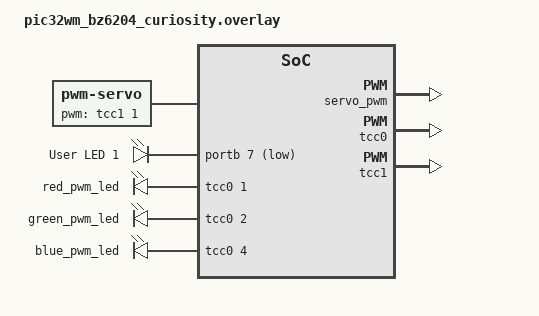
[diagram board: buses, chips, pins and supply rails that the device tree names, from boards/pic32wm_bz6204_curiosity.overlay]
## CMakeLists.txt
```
#
# Copyright (c) 2025 Microchip Technology Inc.
#
# SPDX-License-Identifier: Apache-2.0

cmake_minimum_required(VERSION 3.20.0)
find_package(Zephyr REQUIRED HINTS $ENV{ZEPHYR_BASE})
project(ble_servo_360)

target_sources(app PRIVATE
  src/main.c
  src/app_servo_motor_360.c
  )
```

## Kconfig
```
# Copyright (c) 2025 Microchip Technology Inc.
# SPDX-License-Identifier: Apache-2.0

mainmenu "Bluetooth: Peripheral TRP UART"

# Servo motor type fixed for this project
config APP_SERVO_MOTOR_180
  bool
  default n

config APP_SERVO_MOTOR_360
  bool
  default y

source "Kconfig.zephyr"
```

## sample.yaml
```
sample:
  name: Bluetooth LE 360-degree Servo Motor Control
  description: Control a continuous-rotation servo over Bluetooth LE on the PIC32-BZ6 Curiosity board.
  tags: bluetooth
tests:
  build:
    platform_allow:
      - pic32wm_bz6204_curiosity/pic32cx2051bz62132
    tags: bluetooth
```

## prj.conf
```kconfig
#
# Copyright (c) 2025 Microchip Technology Inc.
#
# SPDX-License-Identifier: Apache-2.0
#
CONFIG_BT=y
CONFIG_LOG=y
CONFIG_BT_SMP=y
CONFIG_BT_PERIPHERAL=y
CONFIG_BT_TRS=y
CONFIG_BT_TRS_SERVER=y
CONFIG_BT_GATT_DYNAMIC_DB=y
CONFIG_BT_DEVICE_NAME="Microchip"

CONFIG_GPIO=y
CONFIG_PWM=y

CONFIG_NET_BUF=y

CONFIG_BT_MAX_CONN=1

CONFIG_BT_RX_STACK_SIZE=2048
CONFIG_SYSTEM_WORKQUEUE_STACK_SIZE=2048

CONFIG_BT_L2CAP_TX_MTU=247
CONFIG_BT_BUF_ACL_RX_SIZE=255
CONFIG_BT_BUF_ACL_TX_SIZE=251
CONFIG_BT_BUF_CMD_TX_SIZE=255
CONFIG_BT_L2CAP_TX_BUF_COUNT=10
CONFIG_BT_CONN_TX_MAX=10
CONFIG_BT_ATT_TX_COUNT=10

CONFIG_TRS_SERVER_CREDIT=16
CONFIG_TRS_SERVER_BUF_POOL_SIZE=16
CONFIG_TRS_SERVER_BUF_DATA_SIZE=244
```

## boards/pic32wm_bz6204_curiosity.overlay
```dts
/*
 * PWM LED Configuration for pic32wm_bz6204_curiosity
 * 
 * This overlay file configures the RGB LEDs as PWM-controlled LEDs
 * All LEDs use TCC0 (Timer Counter Channel 0)
 * Red LED:   TCC0_WO1
 * Green LED: TCC0_WO2
 * Blue LED:  TCC0_WO4
 */

/ {
	servo: servo {
        compatible = "pwm-servo";
        pwms = <&tcc1 1 20000000 0>;
        min-pulse = <500000>;
        max-pulse = <2500000>;
    		};

	leds {
		compatible = "gpio-leds";
		led3: led_3 {
			gpios = <&portb 7 GPIO_ACTIVE_LOW>;
			label = "User LED 1";
		};
	};

	pwmleds {
		compatible = "pwm-leds";
		status = "okay";
		red_pwm_led: red_pwm_led {
			status = "okay";
			pwms = <&tcc0 1 PWM_MSEC(20) 0>;
		};

		green_pwm_led: green_pwm_led {
			status = "okay";
			pwms = <&tcc0 2 PWM_MSEC(20) 0>;
		};

		blue_pwm_led: blue_pwm_led {
			status = "okay";
			pwms = <&tcc0 4 PWM_MSEC(20) 0>;
		};

		servo_pwm: servo_pwm {
			status = "okay";
			pwms = <&tcc1 1 PWM_MSEC(20) 0>;
		};
	};

	aliases {
		led3 = &led3;
		pwm-led-red = &red_pwm_led;
		pwm-led-green = &green_pwm_led;
		pwm-led-blue = &blue_pwm_led;
		pwm-servo = &servo_pwm;
	};
};

&pinctrl {
	tcc0_pwm_rgb: tcc0_pwm_rgb {
		group1 {
			pinmux = <PC7_TCC0WO1_OUT>,
				<PC10_TCC0WO2_OUT>,
				<PE0_TCC0WO4_OUT>;
		};
	};

	tcc1_pwm_servo: tcc1_pwm_servo {
        group1 {
            pinmux = <PC11_TCC1WO1_OUT>;
        };
    };
};
/* Enable timer/counter modules for PWM */

&tcc0 {
	status = "okay";
	pinctrl-0 = <&tcc0_pwm_rgb>;
	pinctrl-names = "default";
};

&tcc1 {
    status = "okay";
    pinctrl-0 = <&tcc1_pwm_servo>;
    pinctrl-names = "default";
    prescaler = <256>;
};
```

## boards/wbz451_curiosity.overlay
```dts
/*
 * PWM LED Configuration for WBZ451 Curiosity
 * 
 * This overlay file configures the RGB LEDs as PWM-controlled LEDs
 * Red LED:   PB0 - TC0 WO1
 * Green LED: PB3 - TC2 WO1
 * Blue LED:  PB5 - TC3 WO1
 */

/ {
	leds {
		compatible = "gpio-leds";
		led3: led_3 {
			gpios = <&portb 7 GPIO_ACTIVE_LOW>;
			label = "User LED 1";
		};
	};

	pwmleds {
		compatible = "pwm-leds";
		status = "okay";
		pwm_led0: pwm_led_0 {
			status = "okay";
			pwms = <&tc0 1 PWM_MSEC(20) 0>;
		};
		red_pwm_led: red_pwm_led {
			status = "okay";
			pwms = <&tc0 1 PWM_USEC(20) 0>;
		};
		green_pwm_led: green_pwm_led {
			status = "okay";
			pwms = <&tc2 1 PWM_USEC(20) 0>;
		};
		blue_pwm_led: blue_pwm_led {
			status = "okay";
			pwms = <&tc3 1 PWM_USEC(20) 0>;
		};
		servo_pwm: servo_pwm {
			status = "okay";
			pwms = <&tc0 1 PWM_MSEC(20) 0>;
		};
	};

	aliases {
		led3 = &led3;
		pwm-led0 = &pwm_led0;
		pwm-servo = &servo_pwm;
		red-pwm-led = &red_pwm_led;
		green-pwm-led = &green_pwm_led;
		blue-pwm-led = &blue_pwm_led;
	};
};

/* Enable timer/counter modules for PWM */
&tc0 {
	status = "okay";
	pinctrl-0 = <&tc0_pwm_default>;
	pinctrl-names = "default";
};

&tc2 {
	status = "okay";
	pinctrl-0 = <&tc2_pwm_default>;
	pinctrl-names = "default";
};

&tc3 {
	status = "okay";
	pinctrl-0 = <&tc3_pwm_default>;
	pinctrl-names = "default";
};
```

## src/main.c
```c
/*
 * Copyright (c) 2025 Microchip Technology Inc.
 *
 * SPDX-License-Identifier: Apache-2.0
 */
#include <zephyr/types.h>
#include <stddef.h>
#include <string.h>
#include <errno.h>
#include <zephyr/kernel.h>
#include <zephyr/logging/log.h>
#include <zephyr/bluetooth/bluetooth.h>
#include <zephyr/bluetooth/hci.h>
#include <zephyr/bluetooth/conn.h>
#include <zephyr/bluetooth/uuid.h>
#include <zephyr/bluetooth/gatt.h>
#include <zephyr/drivers/uart.h>
#include <zephyr/drivers/gpio.h>
#include <zephyr/bluetooth/services/trs/trs_server.h>
#include "app_servo_motor_360.h"

LOG_MODULE_REGISTER(main);

#define UART_TX_BUF_SIZE 244
#define RING_BUF_SIZE    512
#define LED_BLINK_INTERVAL_MS 500
#define USER_LED_NODE DT_ALIAS(led3)

/* MBD legacy advertisement name and service data */
#define ADV_NAME "Zephyr_Servo-360"
#define ADV_NAME_LEN (sizeof(ADV_NAME) - 1)

#define UART_DEVICE_NODE DT_CHOSEN(zephyr_shell_uart)

/* incoming events and data from the bluetooth */
static K_FIFO_DEFINE(rx_queue);

#define APP_BUF_POOL_SIZE CONFIG_TRS_SERVER_BUF_POOL_SIZE
#define APP_BUF_DATA_SIZE CONFIG_TRS_SERVER_BUF_DATA_SIZE

NET_BUF_POOL_DEFINE(app_buff_pool, APP_BUF_POOL_SIZE, APP_BUF_DATA_SIZE, 0, NULL);
RING_BUF_DECLARE(rx_ring, RING_BUF_SIZE);

static const struct device *const uart_dev = DEVICE_DT_GET(UART_DEVICE_NODE);
static const struct gpio_dt_spec user_led = GPIO_DT_SPEC_GET(USER_LED_NODE, gpios);

static struct bt_conn *ble_conn;
static struct k_spinlock conn_lock;
static struct k_work uart_rx_work;
static struct k_work_delayable uart_retry_work;
static struct k_work_delayable ble_retry_work;
static uint8_t pending_tx[UART_TX_BUF_SIZE];
static size_t pending_tx_len;
static struct bt_conn *tx_conn;
static struct k_work ble_rx_work;
static struct k_work_delayable adv_retry_work;
static struct k_work_delayable led_blink_work;
static bool advertising_started;
static bool led_state;  /* true = ON, false = OFF */

/*
 * ── UART accumulation buffer ──
 * Collects bytes from ISR until a delimiter (CR/LF) is seen,
 * then hands off the complete line via a work item.
 */
#define ACCUM_BUF_SIZE 128
static uint8_t accum_buf[ACCUM_BUF_SIZE];
static size_t  accum_pos;
static bool discard_uart_line;
static struct k_work process_line_work;

struct uart_line {
    size_t len;
    uint8_t data[ACCUM_BUF_SIZE];
};
K_MSGQ_DEFINE(line_queue, sizeof(struct uart_line), 4, sizeof(size_t));
K_MSGQ_DEFINE(ble_rx_conn_queue, sizeof(struct bt_conn *),
              CONFIG_TRS_SERVER_CREDIT, sizeof(void *));

static struct bt_conn *connection_ref_get(void)
{
    k_spinlock_key_t key = k_spin_lock(&conn_lock);
    struct bt_conn *conn = ble_conn ? bt_conn_ref(ble_conn) : NULL;

    k_spin_unlock(&conn_lock, key);
    return conn;
}

static bool connection_is_active(struct bt_conn *conn)
{
    k_spinlock_key_t key = k_spin_lock(&conn_lock);
    bool active = conn != NULL && ble_conn == conn;

    k_spin_unlock(&conn_lock, key);
    return active;
}

static uint8_t svc_data[] = {0xDA, 0xFE, 0xFF, 0xE1};

static struct bt_data ad[] = {
    BT_DATA_BYTES(BT_DATA_FLAGS, (BT_LE_AD_GENERAL | BT_LE_AD_NO_BREDR)),
    BT_DATA(BT_DATA_SVC_DATA16, svc_data, sizeof(svc_data)),
    BT_DATA(BT_DATA_NAME_COMPLETE, ADV_NAME, ADV_NAME_LEN),
};

/* ──────────────────────────────────────────────
 * Advertising
 * ────────────────────────────────────────────── */
static int start_advertising(void)
{
    int err;

    bt_le_adv_stop();
    err = bt_le_adv_start(BT_LE_ADV_CONN_FAST_1, ad, ARRAY_SIZE(ad), NULL, 0);
    if (err) {
        LOG_ERR("Advertising failed to start (err %d)", err);
        return err;
    }
    LOG_INF("Configuration mode: waiting connections...");
    
    /* Start LED blinking for advertising state */
    led_state = false;
    gpio_pin_set_dt(&user_led, 1);  /* 1 for GPIO_ACTIVE_LOW = LED OFF */
    k_work_schedule(&led_blink_work, K_MSEC(LED_BLINK_INTERVAL_MS));
    
    return 0;
}

static void adv_retry_work_handler(struct k_work *work)
{
    int err = start_advertising();

    if (err == -ENOMEM) {
        k_work_schedule(&adv_retry_work, K_MSEC(200));
    }
}

/* ──────────────────────────────────────────────
 * LED Blink handler (for advertising state)
 * ────────────────────────────────────────────── */
static void led_blink_work_handler(struct k_work *work)
{
    struct bt_conn *conn = connection_ref_get();
    /* Only blink if still in advertising mode (not connected) */
    if (!conn && advertising_started) {
        led_state = !led_state;
        gpio_pin_set_dt(&user_led, led_state ? 0 : 1);  /* Invert for GPIO_ACTIVE_LOW */
        k_work_schedule(&led_blink_work, K_MSEC(LED_BLINK_INTERVAL_MS));
    }
    if (conn) {
        bt_conn_unref(conn);
    }
}

/* ──────────────────────────────────────────────
 * Connection callbacks
 * ────────────────────────────────────────────── */
static void connected(struct bt_conn *connected, uint8_t err)
{
    if (err) {
        LOG_ERR("Connection failed (err %u)", err);
    } else {
        LOG_INF("Connected");
        k_spinlock_key_t key = k_spin_lock(&conn_lock);
        if (!ble_conn) {
            ble_conn = bt_conn_ref(connected);
        }
        k_spin_unlock(&conn_lock, key);
        /* Cancel blinking and turn LED ON */
        k_work_cancel_delayable(&led_blink_work);
        led_state = true;
        gpio_pin_set_dt(&user_led, 1);  /* 1 = LED ON */
        LOG_INF("LED ON (connected)");
    }
}

static void disconnected(struct bt_conn *disconn, uint8_t reason)
{
    struct bt_conn *to_unref = NULL;
    k_spinlock_key_t key = k_spin_lock(&conn_lock);

    if (ble_conn == disconn) {
        to_unref = ble_conn;
        ble_conn = NULL;
    }
    k_spin_unlock(&conn_lock, key);
    if (to_unref) {
        bt_conn_unref(to_unref);
    }
    k_work_submit(&uart_rx_work);
    LOG_INF("Disconnected, reason %u %s", reason, bt_hci_err_to_str(reason));
    
    /* Start blinking again for re-advertising */
    led_state = false;
    gpio_pin_set_dt(&user_led, 1);  /* 1 for GPIO_ACTIVE_LOW = LED OFF */
    k_work_schedule(&led_blink_work, K_MSEC(LED_BLINK_INTERVAL_MS));
    
    k_work_schedule(&adv_retry_work, K_MSEC(200));
}

BT_CONN_CB_DEFINE(conn_callbacks) = {
    .connected = connected,
    .disconnected = disconnected,
};

/* ──────────────────────────────────────────────
 * Hex conversion helper
 * ────────────────────────────────────────────── */
static int hex_char_val(uint8_t c)
{
    if (c >= '0' && c <= '9') {
        return c - '0';
    }
    if (c >= 'A' && c <= 'F') {
        return c - 'A' + 10;
    }
    if (c >= 'a' && c <= 'f') {
        return c - 'a' + 10;
    }
    return -1;
}


/**
 * Check if the entire buffer (ignoring whitespace/CR/LF) is valid hex pairs.
 * Returns the number of decoded bytes, or 0 if not valid hex.
 */
static int try_decode_hex(const uint8_t *buf, size_t len, uint8_t *out, size_t out_max)
{
    int count = 0;
    int nibble = -1;

    for (size_t i = 0; i < len; i++) {
        uint8_t c = buf[i];

        /* skip whitespace and delimiters */
        if (c == ' ' || c == '\t' || c == '\r' || c == '\n') {
            continue;
        }

        int val = hex_char_val(c);

        if (val < 0) {
            /* non-hex character found → not a hex command */
            return 0;
        }

        if (nibble < 0) {
            nibble = val;
        } else {
            if ((size_t)count >= out_max) {
                return 0; /* overflow */
            }
            out[count++] = (uint8_t)((nibble << 4) | val);
            nibble = -1;
        }
    }

    /* If there's a leftover nibble, the input wasn't aligned hex pairs */
    if (nibble >= 0) {
        return 0;
    }

    return count;
}

/* ──────────────────────────────────────────────
 * Vendor command work handler (system workqueue)
 * ────────────────────────────────────────────── */
static void send_uart_vendor_command(uint8_t *data, size_t len)
{
    struct bt_conn *conn = connection_ref_get();
    if (!conn) {
        LOG_WRN("No BLE connection, discarding vendor command");
        return;
    }
    int ret = trs_server_send_vendor_command(conn, data[0], len - 1,
                                             len > 1 ? &data[1] : NULL);
    if (ret != 0) {
        LOG_ERR("Vendor send failed: %d", ret);
    }
    bt_conn_unref(conn);
}

static void tx_connection_set(struct bt_conn *conn)
{
    /* UART transmit state is owned by the system workqueue. */
    if (tx_conn == conn) {
        return;
    }
    if (pending_tx_len > 0 || !ring_buf_is_empty(&rx_ring)) {
        LOG_WRN("Discarding UART data for previous BLE connection");
    }
    pending_tx_len = 0;
    ring_buf_reset(&rx_ring);
    k_work_cancel_delayable(&uart_retry_work);
    if (tx_conn) {
        bt_conn_unref(tx_conn);
    }
    tx_conn = conn ? bt_conn_ref(conn) : NULL;
}

/* ──────────────────────────────────────────────
 * Process a complete UART line (work handler)
 *
 * Decision logic:
 *   a. If the line is valid hex AND first byte == 0x8E → vendor command
 *   b. Otherwise → transparent data (send raw ASCII over data pipe)
 * ────────────────────────────────────────────── */
static void process_uart_line(const uint8_t *local_buf, size_t local_len)
{
    if (local_len == 0) {
        return;
    }

    LOG_HEXDUMP_DBG(local_buf, local_len, "UART line");

    /* ── Try to decode as hex vendor command ── */
    uint8_t hex_bytes[64];
    int hex_len = try_decode_hex(local_buf, local_len, hex_bytes, sizeof(hex_bytes));

    if (hex_len > 0 && hex_bytes[0] == 0x8E) {
        /* This is a vendor command → send via control pipe */
        send_uart_vendor_command(hex_bytes, hex_len);
        return;
    }

    /* ── Regular transparent data → ring buffer → BLE data pipe ── */
    struct bt_conn *conn = connection_ref_get();
    if (!conn) {
        LOG_WRN("No BLE connection, discarding data");
        return;
    }
    tx_connection_set(conn);
    bt_conn_unref(conn);

    size_t stored = ring_buf_put(&rx_ring, local_buf, local_len);
    if (stored != local_len) {
        LOG_ERR("Ring buffer overflow, %zu bytes lost", local_len - stored);
    }
    if (stored > 0) {
        k_work_submit(&uart_rx_work);
    }
}

static void process_line_work_handler(struct k_work *work)
{
    struct uart_line line;

    while (k_msgq_get(&line_queue, &line, K_NO_WAIT) == 0) {
        process_uart_line(line.data, line.len);
    }
}

static void uart_retry_work_handler(struct k_work *work)
{
    k_work_submit(&uart_rx_work);
}

static void ble_retry_work_handler(struct k_work *work)
{
    k_work_submit(&ble_rx_work);
}

/* ──────────────────────────────────────────────
 * UART -> BLE (data pipe)
 * ────────────────────────────────────────────── */
static void uart_rx_work_handler(struct k_work *work)
{
    uint16_t tx_mtu = 0U;
    struct bt_conn *conn = connection_ref_get();

    tx_connection_set(conn);
    if (!conn) {
        pending_tx_len = 0;
        ring_buf_reset(&rx_ring);
        k_work_cancel_delayable(&uart_retry_work);
        return;
    }

    trs_server_get_tx_mtu(conn, &tx_mtu);
    if (tx_mtu <= 4U) {
        LOG_WRN("TRS connection not ready for UART transmission");
        goto out;
    }
    size_t payload_mtu = MIN((size_t)(tx_mtu - 4U), sizeof(pending_tx));

    while (connection_is_active(conn)) {
        if (pending_tx_len == 0) {
            pending_tx_len = ring_buf_get(&rx_ring, pending_tx, payload_mtu);
        }
        if (pending_tx_len == 0) {
            break;
        }
        size_t send_len = MIN(pending_tx_len, payload_mtu);
        int err = trs_server_send_data(conn, send_len, pending_tx);
        if (err < 0) {
            if (err == -ENOBUFS || err == -ENOTSUP || err == -EAGAIN) {
                k_work_reschedule(&uart_retry_work, K_MSEC(10));
            } else {
                LOG_ERR("Failed to send through BLE: %d", err);
                pending_tx_len = 0;
            }
            break;
        }
        pending_tx_len -= send_len;
        memmove(pending_tx, &pending_tx[send_len], pending_tx_len);
    }
out:
    bt_conn_unref(conn);
}

static void ble_rx_work_handler(struct k_work *work)
{
    struct bt_conn *conn;

    while (k_msgq_get(&ble_rx_conn_queue, &conn, K_NO_WAIT) == 0) {
        while (connection_is_active(conn)) {
            uint16_t data_len = 0;
            trs_server_get_data_len(conn, &data_len);
            if (data_len == 0) {
                break;
            }
            struct net_buf *rec_buf = net_buf_alloc_len(&app_buff_pool,
                                                       (size_t)data_len,
                                                       K_NO_WAIT);
            if (rec_buf == NULL) {
                if (k_msgq_put(&ble_rx_conn_queue, &conn, K_NO_WAIT) == 0) {
                    k_work_reschedule(&ble_retry_work, K_MSEC(10));
                } else {
                    bt_conn_unref(conn);
                    LOG_ERR("BLE receive event queue full during retry");
                }
                return;
            }

            if (trs_server_get_data(conn, net_buf_add(rec_buf, data_len)) > 0) {
                unsigned int key = irq_lock();
                bool was_empty = k_fifo_is_empty(&rx_queue);

                k_fifo_put(&rx_queue, rec_buf);
                if (was_empty) {
                    uart_irq_tx_enable(uart_dev);
                }
                irq_unlock(key);
            } else {
                net_buf_unref(rec_buf);
            }
        }
        bt_conn_unref(conn);
    }
}

/* ──────────────────────────────────────────────
 * TRS server callback
 * ────────────────────────────────────────────── */
static void trs_server_cb_fn(struct trs_server_event *event)
{
    switch (event->event_id) {
    case TRS_SERVER_EVT_RECEIVE_DATA: {
        struct bt_conn *conn = bt_conn_ref(event->event_field.conn);
        if (k_msgq_put(&ble_rx_conn_queue, &conn, K_NO_WAIT) != 0) {
            bt_conn_unref(conn);
            LOG_ERR("BLE receive event queue full");
            break;
        }
        k_work_submit(&ble_rx_work);
        break;
    }

    case TRS_SERVER_EVT_TX_STATUS:
        if (event->event_field.tx_status.status == TRS_SERVER_STATUS_TX_OPENED) {
            k_work_submit(&uart_rx_work);
        }
        break;

    case TRS_SERVER_EVT_CTRL_STATUS:
        LOG_INF("Control Point status: %u", event->event_field.ctrl_status.status);
        break;

    case TRS_SERVER_EVT_CBFC_ENABLED:
        LOG_INF("CBFC Rx enabled");
        break;

    case TRS_SERVER_EVT_CBFC_CREDIT:
        LOG_INF("CBFC Tx credit updated");
        k_work_submit(&uart_rx_work);
        break;

    case TRS_SERVER_EVT_VENDOR_CMD: {
        struct bt_conn *conn = event->event_field.conn;
        uint8_t *vdata = event->event_field.vendor_cmd.payload;
        uint16_t vlen  = event->event_field.vendor_cmd.length;

        if (vlen > 0 && vdata) {
            if (vdata[0] == 0x8E && conn) {
                LOG_INF("Vendor cmd received size=%u", vlen);
                LOG_HEXDUMP_INF(vdata, vlen, "RX Vendor:");

                int ret = app_servo_motor_ble_handle_cmd(conn, vdata[0],
                                                       vdata + 1, vlen - 1);
                if (ret != 0) {
                    LOG_ERR("Failed to handle servo motor command: %d", ret);
                }
            } else {
                LOG_INF("Data received size=%u", vlen);
                LOG_HEXDUMP_INF(vdata, vlen, "RX Data:");

                if (conn) {
                    uint8_t ack_data[UART_TX_BUF_SIZE];
                    const char ack_prefix[] = "data received :";
                    size_t prefix_len = sizeof(ack_prefix) - 1;
                    size_t copy_len = MIN((size_t)vlen, sizeof(ack_data) - prefix_len);

                    memcpy(ack_data, ack_prefix, prefix_len);
                    memcpy(&ack_data[prefix_len], vdata, copy_len);

                    int ack_ret = trs_server_send_data(conn,
                                                       prefix_len + copy_len,
                                                       ack_data);
                    if (ack_ret < 0) {
                        LOG_ERR("Failed to send data acknowledgement: %d", ack_ret);
                    }
                }
            }

            /* Echo to UART/Docklight */
            for (uint16_t i = 0; i < vlen; i++) {
                uart_poll_out(uart_dev, vdata[i]);
            }
        }
        break;
    }

    case TRS_SERVER_EVT_ERR_UNSPECIFIED:
        LOG_ERR("TRS Error: Unspecified");
        break;

    case TRS_SERVER_EVT_ERR_NO_MEM:
        LOG_ERR("TRS Error: No memory");
        break;

    default:
        break;
    }
}

static struct trs_server_cb trs_server_event_cb = {
    .trs_server_event = trs_server_cb_fn,
};

/* ──────────────────────────────────────────────
 * Auth
 * ────────────────────────────────────────────── */
static void auth_cancel(struct bt_conn *conn)
{
    char addr[BT_ADDR_LE_STR_LEN];

    bt_addr_le_to_str(bt_conn_get_dst(conn), addr, sizeof(addr));
    printk("Pairing cancelled: %s\n", addr);
}

static struct bt_conn_auth_cb auth_cb_display = {
    .cancel = auth_cancel,
};

static void bt_ready(int err)
{
    if (err) {
        LOG_ERR("Bluetooth init failed (err %d)", err);
        return;
    }
    LOG_INF("Bluetooth initialized");
    start_advertising();
}

/* ──────────────────────────────────────────────
 * UART ISR – accumulate bytes, dispatch complete
 * lines via work item
 *
 * Delimiter: CR (\r) or LF (\n)
 *
 * For Docklight: make sure your sequences end with
 * CR or LF (or CR+LF). Configure Docklight send
 * sequences accordingly.
 * ────────────────────────────────────────────── */
static void rx_uart_isr(void)
{
    uint8_t tmp[32];
    int n = uart_fifo_read(uart_dev, tmp, sizeof(tmp));

    for (int i = 0; i < n; i++) {
        uint8_t c = tmp[i];

        if (c == '\r' || c == '\n') {
            if (discard_uart_line) {
                discard_uart_line = false;
                continue;
            }
            if (accum_pos > 0) {
                struct uart_line line = {.len = accum_pos};
                memcpy(line.data, accum_buf, accum_pos);
                if (k_msgq_put(&line_queue, &line, K_NO_WAIT) != 0) {
                    LOG_ERR("UART line queue full, dropping line");
                }
                accum_pos = 0;
                k_work_submit(&process_line_work);
            }
            /* else: ignore empty lines / consecutive delimiters */
        } else {
            if (discard_uart_line) {
                continue;
            }
            if (accum_pos < ACCUM_BUF_SIZE) {
                accum_buf[accum_pos++] = c;
            } else {
                /* Overflow – discard this line */
                LOG_ERR("Accum buffer overflow, discarding");
                accum_pos = 0;
                discard_uart_line = true;
            }
        }
    }
}

static void tx_uart_data(void)
{
    static struct net_buf *rec_buf;
    int len;

    if (!rec_buf) {
        rec_buf = k_fifo_get(&rx_queue, K_NO_WAIT);
        if (!rec_buf) {
            uart_irq_tx_disable(uart_dev);
            return;
        }
    }

    len = uart_fifo_fill(uart_dev, rec_buf->data, rec_buf->len);
    net_buf_pull(rec_buf, len);

    if (!rec_buf->len) {
        net_buf_unref(rec_buf);
        rec_buf = NULL;
        k_work_submit(&ble_rx_work);
    }
}

static void uart_isr(const struct device *unused, void *user_data)
{
    ARG_UNUSED(unused);
    ARG_UNUSED(user_data);

    while (uart_irq_update(uart_dev) && uart_irq_is_pending(uart_dev)) {
        if (uart_irq_tx_ready(uart_dev)) {
            tx_uart_data();
        }
        if (uart_irq_rx_ready(uart_dev)) {
            rx_uart_isr();
        }
    }
}

static int uart_init(void)
{
    if (!device_is_ready(uart_dev)) {
        return -ENODEV;
    }

    uart_irq_rx_disable(uart_dev);
    uart_irq_tx_disable(uart_dev);
    uart_irq_callback_set(uart_dev, uart_isr);
    uart_irq_rx_enable(uart_dev);

    return 0;
}

/* ──────────────────────────────────────────────
 * Main
 * ────────────────────────────────────────────── */
int main(void)
{
    int err;

    k_work_init(&ble_rx_work, ble_rx_work_handler);
    k_work_init(&uart_rx_work, uart_rx_work_handler);
    k_work_init_delayable(&uart_retry_work, uart_retry_work_handler);
    k_work_init_delayable(&ble_retry_work, ble_retry_work_handler);
    k_work_init(&process_line_work, process_line_work_handler);
    k_work_init_delayable(&adv_retry_work, adv_retry_work_handler);
    k_work_init_delayable(&led_blink_work, led_blink_work_handler);
    advertising_started = true;

    LOG_INF("Initializing Bluetooth...");

    err = uart_init();
    if (err) {
        return 0;
    }

    /* Initialize LED GPIO */
    if (!gpio_is_ready_dt(&user_led)) {
        LOG_ERR("LED GPIO device not ready");
        return 0;
    }
    err = gpio_pin_configure_dt(&user_led, GPIO_OUTPUT);
    if (err < 0) {
        LOG_ERR("Failed to configure LED GPIO: %d", err);
        return 0;
    }
    gpio_pin_set_dt(&user_led, 1);  /* Start with LED OFF */
    led_state = false;
    LOG_INF("LED initialized");

    bt_conn_auth_cb_register(&auth_cb_display);

    err = trs_server_cb_register(&trs_server_event_cb);
    if (err) {
        return 0;
    }

    /* Initialize servo motor BLE module */
    err = app_servo_motor_ble_init();
    if (err) {
        LOG_ERR("Failed to initialize servo motor BLE module: %d", err);
        return 0;
    }

    err = bt_enable(bt_ready);
    if (err) {
        LOG_ERR("Bluetooth init failed (err %d)", err);
    }

    return 0;
}
```

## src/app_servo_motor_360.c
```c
/*
 * Copyright (c) 2025 Microchip Technology Inc.
 *
 * SPDX-License-Identifier: Apache-2.0
 */

#include <zephyr/types.h>
#include <stddef.h>
#include <stdio.h>
#include <string.h>
#include <errno.h>
#include <zephyr/kernel.h>
#include <zephyr/logging/log.h>
#include <zephyr/bluetooth/bluetooth.h>
#include <zephyr/bluetooth/hci.h>
#include <zephyr/bluetooth/conn.h>
#include <zephyr/bluetooth/uuid.h>
#include <zephyr/bluetooth/gatt.h>
#include <zephyr/drivers/pwm.h>
#include <zephyr/device.h>

#include "app_servo_motor_360.h"
#include <zephyr/bluetooth/services/trs/trs_server.h>

LOG_MODULE_REGISTER(app_servo_motor);

#if DT_NODE_HAS_STATUS(DT_ALIAS(pwm_servo), okay)
static const struct pwm_dt_spec servo_pwm = PWM_DT_SPEC_GET(DT_ALIAS(pwm_servo));
#define SERVO_PWM_AVAILABLE 1
#else
#define SERVO_PWM_AVAILABLE 0
#endif

#define SERVO_PWM_PERIOD_NS    20000000U
#define SERVO_PWM_MIN_PULSE_NS 500000U
#define SERVO_PWM_MID_PULSE_NS 1500000U
#define SERVO_PWM_MAX_PULSE_NS 2500000U

#define SERVO_360_CW_SLOW_NS   1450000U
#define SERVO_360_CCW_SLOW_NS  1550000U

static void log_vendor_cmd(const char *label, const uint8_t opcode, const uint8_t *payload, uint16_t len)
{
    char hex_str[256];
    int pos = 0;

    pos += snprintf(&hex_str[pos], sizeof(hex_str) - pos, "%s - Opcode: %02X, Len: %d, Data: ", label, opcode, len);

    for (uint16_t i = 0; i < len && pos < (int)sizeof(hex_str) - 4; i++) {
        pos += snprintf(&hex_str[pos], sizeof(hex_str) - pos, "%02X ", payload[i]);
    }

    LOG_INF("%s", hex_str);
}

static struct {
    char name[32];
    uint8_t name_len;
    uint16_t slider_value;
    uint8_t fixed_direction;
    uint8_t start_stop;
    uint32_t current_pulse_ns;
} servo_state;

static int servo_set_pwm_from_slider(uint16_t slider_value)
{
#if !SERVO_PWM_AVAILABLE
    return -ENODEV;
#else
    uint32_t pulse_ns;

    if (slider_value == 0 || servo_state.start_stop == SERVO_STOP) {
        pulse_ns = SERVO_PWM_MID_PULSE_NS;
    } else if (servo_state.fixed_direction == SERVO_DIR_CW) {
        pulse_ns = SERVO_360_CW_SLOW_NS -
                   ((uint32_t)slider_value * (SERVO_360_CW_SLOW_NS - SERVO_PWM_MIN_PULSE_NS)) / 100U;
    } else {
        pulse_ns = SERVO_360_CCW_SLOW_NS +
                   ((uint32_t)slider_value * (SERVO_PWM_MAX_PULSE_NS - SERVO_360_CCW_SLOW_NS)) / 100U;
    }

    int ret = pwm_set_dt(&servo_pwm, SERVO_PWM_PERIOD_NS, pulse_ns);
    if (ret == 0) {
        servo_state.current_pulse_ns = pulse_ns;
        LOG_INF("PWM set: speed=%u dir=%s, pulse=%u ns", slider_value,
                servo_state.fixed_direction == SERVO_DIR_CW ? "CW" : "CCW", pulse_ns);
    }
    return ret;
#endif
}

int app_servo_motor_ble_init(void)
{
    memset(&servo_state, 0, sizeof(servo_state));

    const char *default_name = "SERVO 360";
    servo_state.name_len = strlen(default_name);
    memcpy(servo_state.name, default_name, servo_state.name_len);

    servo_state.slider_value = 50;
    servo_state.fixed_direction = SERVO_DIR_CW;
    servo_state.start_stop = SERVO_STOP;

    LOG_INF("Servo motor BLE module initialized (type: 360-degree)");

#if !SERVO_PWM_AVAILABLE
    LOG_WRN("PWM servo alias not defined in devicetree, servo control disabled");
    return -ENODEV;
#else
    if (!pwm_is_ready_dt(&servo_pwm)) {
        LOG_ERR("PWM device not ready");
        return -ENODEV;
    }

    servo_state.current_pulse_ns = SERVO_PWM_MID_PULSE_NS;
    int ret = pwm_set_dt(&servo_pwm, SERVO_PWM_PERIOD_NS, SERVO_PWM_MID_PULSE_NS);
    LOG_INF("Motor set to default state: stopped (1500us pulse, no rotation)");

    if (ret != 0) {
        LOG_ERR("Failed to set PWM: %d", ret);
        return ret;
    }

    return 0;
#endif
}

static int handle_ui_update_request(struct bt_conn *conn)
{
    LOG_INF("=== Handle UI Update Request (0xA1) ===");

    int ret = app_servo_motor_ble_send_ack(conn, SERVO_ACK_UI_UPDATE);
    if (ret != 0) {
        LOG_ERR("Failed to send UI update ACK: %d", ret);
        return ret;
    }

    return app_servo_motor_ble_send_ui_update_response(conn);
}

static int handle_slider_set(struct bt_conn *conn, const uint8_t *payload, uint16_t payload_len)
{
    if (payload_len < 2) {
        LOG_ERR("Invalid slider set payload length: %d", payload_len);
        return -EINVAL;
    }

    LOG_INF("=== Handle Slider Set (0xA2) ===");

    uint16_t slider_value = (payload[0] << 8) | payload[1];

    if (slider_value > 100) {
        LOG_ERR("Invalid slider value for 360-degree servo: %d", slider_value);
        return -EINVAL;
    }

    servo_state.slider_value = slider_value;

    LOG_INF("Slider set to: %d", slider_value);

    int ret = app_servo_motor_ble_send_ack(conn, SERVO_ACK_SLIDER_SET);
    if (ret != 0) {
        LOG_ERR("Failed to send slider set ACK: %d", ret);
        return ret;
    }

    ret = servo_set_pwm_from_slider(slider_value);
    if (ret != 0) {
        LOG_ERR("Failed to set PWM: %d", ret);
    }

    return app_servo_motor_ble_send_slider_response(conn, slider_value);
}

static int handle_fixed_direction_set(struct bt_conn *conn, const uint8_t *payload, uint16_t payload_len)
{
    if (payload_len < 1) {
        LOG_ERR("Invalid fixed direction set payload length: %d", payload_len);
        return -EINVAL;
    }

    LOG_INF("=== Handle Fixed Direction Set (0xA4) ===");

    uint8_t direction = payload[0];

    if (direction != SERVO_DIR_CW && direction != SERVO_DIR_CCW) {
        LOG_ERR("Invalid fixed direction value: 0x%02X", direction);
        return -EINVAL;
    }

    servo_state.fixed_direction = direction;

    LOG_INF("Fixed direction set to: %s", direction == SERVO_DIR_CW ? "CW" : "CCW");

    int ret = app_servo_motor_ble_send_ack(conn, SERVO_ACK_FIXED_DIRECTION_SET);
    if (ret != 0) {
        LOG_ERR("Failed to send fixed direction set ACK: %d", ret);
        return ret;
    }

    ret = servo_set_pwm_from_slider(servo_state.slider_value);
    if (ret != 0) {
        LOG_ERR("Failed to set PWM: %d", ret);
    }

    return app_servo_motor_ble_send_fixed_direction_response(conn, direction);
}

static int handle_start_stop_set(struct bt_conn *conn, const uint8_t *payload, uint16_t payload_len)
{
    if (payload_len < 1) {
        LOG_ERR("Invalid start/stop set payload length: %d", payload_len);
        return -EINVAL;
    }

    LOG_INF("=== Handle START/STOP Set (0xA5) ===");

    uint8_t start_stop = payload[0];

    if (start_stop != SERVO_STOP && start_stop != SERVO_START) {
        LOG_ERR("Invalid start/stop value: 0x%02X", start_stop);
        return -EINVAL;
    }

    servo_state.start_stop = start_stop;

    LOG_INF("Start/stop set to: %s", start_stop == SERVO_START ? "START" : "STOP");

    int ret = app_servo_motor_ble_send_ack(conn, SERVO_ACK_START_STOP_SET);
    if (ret != 0) {
        LOG_ERR("Failed to send start/stop set ACK: %d", ret);
        return ret;
    }

    ret = servo_set_pwm_from_slider(servo_state.slider_value);
    if (ret != 0) {
        LOG_ERR("Failed to set PWM: %d", ret);
    }

    return app_servo_motor_ble_send_start_stop_response(conn, start_stop);
}

int app_servo_motor_ble_handle_cmd(struct bt_conn *conn, uint8_t opcode,
                                   const uint8_t *payload, uint16_t payload_len)
{
    if (opcode != SERVO_MOTOR_OPCODE) {
        LOG_ERR("Invalid opcode: 0x%02X, expected 0x%02X", opcode, SERVO_MOTOR_OPCODE);
        return -EINVAL;
    }

    if (!payload || payload_len < 2) {
        LOG_ERR("Invalid payload length: %d (expected at least 2)", payload_len);
        return -EINVAL;
    }

    uint8_t cmd_length = payload[0];
    uint8_t cmd_id = payload[1];
    const uint8_t *cmd_payload = payload + 2;
    uint16_t cmd_payload_len = payload_len - 2;

    LOG_INF("=== Vendor Command Received ===");
    LOG_INF("Decoded vendor command length=%u id=0x%02X payload_len=%u", cmd_length, cmd_id, cmd_payload_len);
    log_vendor_cmd("RX", opcode, payload, payload_len);

    if (cmd_length < 1 || cmd_length != (uint8_t)(cmd_payload_len + 1)) {
        LOG_WRN("Vendor command length mismatch: length_field=%u expected=%u", cmd_length, cmd_payload_len + 1);
        if (cmd_length > (uint8_t)(payload_len - 1)) {
            return -EINVAL;
        }
    }

    switch (cmd_id) {
    case SERVO_CMD_UI_UPDATE_REQ:
        return handle_ui_update_request(conn);

    case SERVO_CMD_SLIDER_SET:
        return handle_slider_set(conn, cmd_payload, cmd_payload_len);

    case SERVO_CMD_FIXED_DIRECTION_SET:
        return handle_fixed_direction_set(conn, cmd_payload, cmd_payload_len);

    case SERVO_CMD_START_STOP_SET:
        return handle_start_stop_set(conn, cmd_payload, cmd_payload_len);

    default:
        LOG_ERR("Unknown command ID: 0x%02X", cmd_id);
        return -EINVAL;
    }
}

int app_servo_motor_ble_send_ui_update_response(struct bt_conn *conn)
{
    uint8_t payload[64];
    uint16_t payload_len = 1;

    payload[0] = 0;
    payload[payload_len++] = SERVO_RSP_UI_UPDATE;
    payload[payload_len++] = servo_state.name_len;

    memcpy(&payload[payload_len], servo_state.name, servo_state.name_len);
    payload_len += servo_state.name_len;

    payload[payload_len++] = SERVO_MOTOR_TYPE;

    payload[payload_len++] = (servo_state.slider_value >> 8) & 0xFF;
    payload[payload_len++] = servo_state.slider_value & 0xFF;

    payload[payload_len++] = servo_state.fixed_direction;
    payload[payload_len++] = servo_state.start_stop;

    payload[0] = payload_len - 1;

    LOG_INF("=== Sending UI Update Response (0xB1) ===");
    log_vendor_cmd("TX", SERVO_MOTOR_OPCODE, payload, payload_len);

    return trs_server_send_vendor_command(conn, SERVO_MOTOR_OPCODE, payload_len, payload);
}

int app_servo_motor_ble_send_slider_response(struct bt_conn *conn, uint16_t slider_value)
{
    uint8_t payload[5];

    payload[0] = 3;
    payload[1] = SERVO_RSP_SLIDER_SET;
    payload[2] = (slider_value >> 8) & 0xFF;
    payload[3] = slider_value & 0xFF;

    LOG_INF("=== Sending Slider Response (0xB2) - Value: %d ===", slider_value);
    log_vendor_cmd("TX", SERVO_MOTOR_OPCODE, payload, 4);

    return trs_server_send_vendor_command(conn, SERVO_MOTOR_OPCODE, 4, payload);
}

int app_servo_motor_ble_send_fixed_direction_response(struct bt_conn *conn, uint8_t direction)
{
    uint8_t payload[3];

    payload[0] = 2;
    payload[1] = SERVO_RSP_FIXED_DIRECTION_SET;
    payload[2] = direction;

    LOG_INF("=== Sending Fixed Direction Response (0xB4) - Direction: %s ===",
            direction == SERVO_DIR_CW ? "CW" : "CCW");
    log_vendor_cmd("TX", SERVO_MOTOR_OPCODE, payload, 3);

    return trs_server_send_vendor_command(conn, SERVO_MOTOR_OPCODE, 3, payload);
}

int app_servo_motor_ble_send_start_stop_response(struct bt_conn *conn, uint8_t start_stop)
{
    uint8_t payload[3];

    payload[0] = 2;
    payload[1] = SERVO_RSP_START_STOP_SET;
    payload[2] = start_stop;

    LOG_INF("=== Sending START/STOP Response (0xB5) - State: %s ===",
            start_stop == SERVO_START ? "START" : "STOP");
    log_vendor_cmd("TX", SERVO_MOTOR_OPCODE, payload, 3);

    return trs_server_send_vendor_command(conn, SERVO_MOTOR_OPCODE, 3, payload);
}

int app_servo_motor_ble_send_slider_notify(struct bt_conn *conn, uint16_t slider_value)
{
    uint8_t payload[4];

    payload[0] = 3;
    payload[1] = SERVO_NTF_SLIDER;
    payload[2] = (slider_value >> 8) & 0xFF;
    payload[3] = slider_value & 0xFF;

    LOG_INF("=== Sending Slider Notification (0xC2) - Value: %d ===", slider_value);
    log_vendor_cmd("TX", SERVO_MOTOR_OPCODE, payload, 4);

    return trs_server_send_vendor_command(conn, SERVO_MOTOR_OPCODE, 4, payload);
}

int app_servo_motor_ble_send_fixed_direction_notify(struct bt_conn *conn, uint8_t direction)
{
    uint8_t payload[3];

    payload[0] = 2;
    payload[1] = SERVO_NTF_FIXED_DIRECTION;
    payload[2] = direction;

    LOG_INF("=== Sending Fixed Direction Notification (0xC4) - Direction: %s ===",
            direction == SERVO_DIR_CW ? "CW" : "CCW");
    log_vendor_cmd("TX", SERVO_MOTOR_OPCODE, payload, 3);

    return trs_server_send_vendor_command(conn, SERVO_MOTOR_OPCODE, 3, payload);
}

int app_servo_motor_ble_send_start_stop_notify(struct bt_conn *conn, uint8_t start_stop)
{
    uint8_t payload[3];

    payload[0] = 2;
    payload[1] = SERVO_NTF_START_STOP;
    payload[2] = start_stop;

    LOG_INF("=== Sending START/STOP Notification (0xC5) - State: %s ===",
            start_stop == SERVO_START ? "START" : "STOP");
    log_vendor_cmd("TX", SERVO_MOTOR_OPCODE, payload, 3);

    return trs_server_send_vendor_command(conn, SERVO_MOTOR_OPCODE, 3, payload);
}

int app_servo_motor_ble_send_ack(struct bt_conn *conn, uint8_t ack_id)
{
    if (ack_id != SERVO_ACK_UI_UPDATE &&
        ack_id != SERVO_ACK_SLIDER_SET &&
        ack_id != SERVO_ACK_FIXED_DIRECTION_SET &&
        ack_id != SERVO_ACK_START_STOP_SET) {
        LOG_ERR("Invalid ACK ID: 0x%02X", ack_id);
        return -EINVAL;
    }

    uint8_t payload[2];
    payload[0] = 1;
    payload[1] = ack_id;

    LOG_INF("=== Sending ACK (0x%02X) ===", ack_id);
    log_vendor_cmd("TX", SERVO_MOTOR_OPCODE, payload, 2);

    return trs_server_send_vendor_command(conn, SERVO_MOTOR_OPCODE, 2, payload);
}
```

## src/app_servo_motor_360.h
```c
/*
 * Copyright (c) 2025 Microchip Technology Inc.
 *
 * SPDX-License-Identifier: Apache-2.0
 */

#ifndef APP_SERVO_MOTOR_360_H
#define APP_SERVO_MOTOR_360_H

#include <zephyr/types.h>
#include <zephyr/bluetooth/conn.h>

/* Protocol Constants */
#define SERVO_MOTOR_OPCODE              0x8E
#define SERVO_MOTOR_SERVICE_DATA        0xFFE1

/* Fixed servo type for this project */
#define SERVO_TYPE_360                  0x01
#define SERVO_MOTOR_TYPE                SERVO_TYPE_360

/* Control Request IDs (App -> Device) */
#define SERVO_CMD_UI_UPDATE_REQ         0xA1
#define SERVO_CMD_SLIDER_SET            0xA2
#define SERVO_CMD_FIXED_DIRECTION_SET   0xA4
#define SERVO_CMD_START_STOP_SET        0xA5

/* Data Response IDs (Device -> App) */
#define SERVO_RSP_UI_UPDATE             0xB1
#define SERVO_RSP_SLIDER_SET            0xB2
#define SERVO_RSP_FIXED_DIRECTION_SET   0xB4
#define SERVO_RSP_START_STOP_SET        0xB5

/* Notification IDs (Device -> App) */
#define SERVO_NTF_SLIDER                0xC2
#define SERVO_NTF_FIXED_DIRECTION       0xC4
#define SERVO_NTF_START_STOP            0xC5

/* Acknowledgment Response IDs */
#define SERVO_ACK_UI_UPDATE             0xD1
#define SERVO_ACK_SLIDER_SET            0xD2
#define SERVO_ACK_FIXED_DIRECTION_SET   0xD4
#define SERVO_ACK_START_STOP_SET        0xD5

/* Direction Values (360 servo) */
#define SERVO_DIR_CW                    0x00
#define SERVO_DIR_CCW                   0x01

/* Start/Stop Values */
#define SERVO_STOP                      0x00
#define SERVO_START                     0x01

int app_servo_motor_ble_init(void);

int app_servo_motor_ble_handle_cmd(struct bt_conn *conn, uint8_t opcode,
                                   const uint8_t *payload, uint16_t payload_len);

int app_servo_motor_ble_send_ui_update_response(struct bt_conn *conn);

int app_servo_motor_ble_send_slider_response(struct bt_conn *conn, uint16_t slider_value);

int app_servo_motor_ble_send_fixed_direction_response(struct bt_conn *conn, uint8_t direction);

int app_servo_motor_ble_send_start_stop_response(struct bt_conn *conn, uint8_t start_stop);

int app_servo_motor_ble_send_slider_notify(struct bt_conn *conn, uint16_t slider_value);

int app_servo_motor_ble_send_fixed_direction_notify(struct bt_conn *conn, uint8_t direction);

int app_servo_motor_ble_send_start_stop_notify(struct bt_conn *conn, uint8_t start_stop);

int app_servo_motor_ble_send_ack(struct bt_conn *conn, uint8_t ack_id);

#endif /* APP_SERVO_MOTOR_360_H */
```
